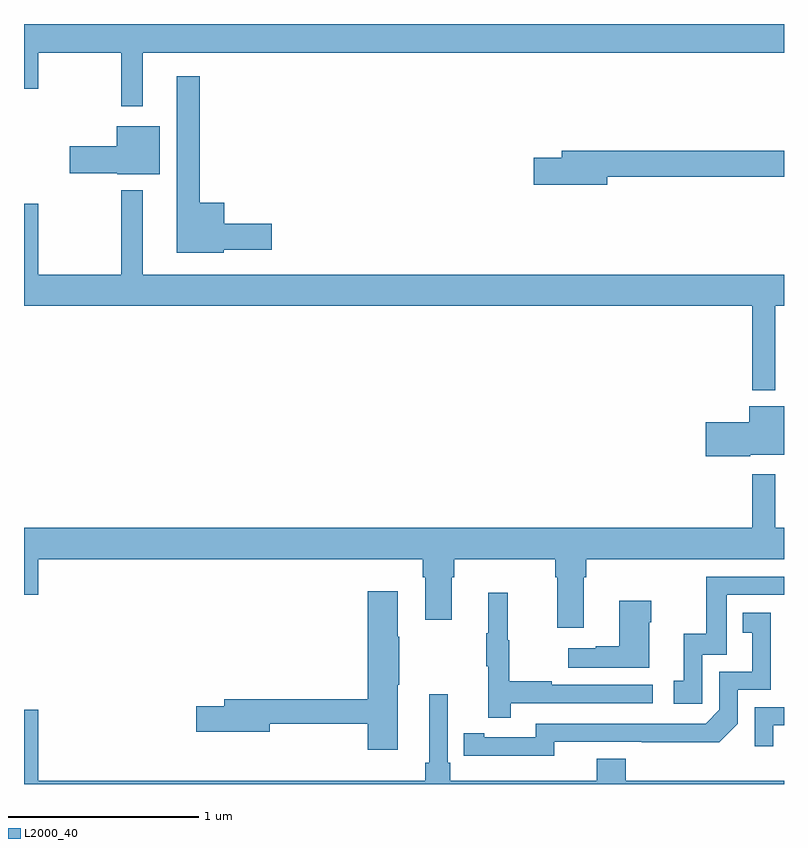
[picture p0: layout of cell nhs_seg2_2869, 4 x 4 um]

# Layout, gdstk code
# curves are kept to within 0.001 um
import gdstk
lib = gdstk.Library(unit=1e-6, precision=1e-09)
def P(c, l, *ps):  # polygons
    for p in ps: c.add(gdstk.Polygon(p, *l))
L2000_40 = (2000, 40)

nhs_seg2_2869 = lib.new_cell('nhs_seg2_2869')
P(nhs_seg2_2869, L2000_40, [(261.625,635.648),(265,635.648),(265,635.8),(261,635.8),(261,635.46),(261.076,635.46),(261.076,635.648),(261.511,635.648),(261.511,635.367),(261.625,635.367)],
  [(262.05,634.613),(262.303,634.613),(262.303,634.748),(262.054,634.748),(262.054,634.858),(261.925,634.858),(261.925,635.524),(261.803,635.524),(261.803,634.595),(262.05,634.595)],
  [(261.715,635.263),(261.488,635.263),(261.488,635.157),(261.24,635.157),(261.24,635.015),(261.492,635.015),(261.492,635.009),(261.715,635.009)],
  [(264.07,634.996),(265,634.996),(265,635.132),(263.831,635.132),(263.831,635.096),(263.682,635.096),(263.682,634.954),(264.07,634.954)],
  [(264.955,634.316),(265,634.316),(265,634.48),(261.625,634.48),(261.625,634.924),(261.511,634.924),(261.511,634.48),(261.076,634.48),(261.076,634.855),(261,634.855),(261,634.316),(264.834,634.316),(264.834,633.872),(264.955,633.872)],
  [(264.822,633.533),(265,633.533),(265,633.787),(264.818,633.787),(264.818,633.704),(264.588,633.704),(264.588,633.526),(264.822,633.526)],
  [(261,632.796),(261.076,632.796),(261.076,632.984),(263.099,632.984),(263.099,632.888),(263.111,632.888),(263.111,632.664),(263.251,632.664),(263.251,632.888),(263.264,632.888),(263.264,632.984),(263.795,632.984),(263.795,632.888),(263.807,632.888),(263.807,632.622),(263.947,632.622),(263.947,632.888),(263.96,632.888),(263.96,632.984),(265,632.984),(265,633.148),(264.955,633.148),(264.955,633.43),(264.834,633.43),(264.834,633.148),(261,633.148)],
  [(264.57,632.481),(264.699,632.481),(264.699,632.796),(265,632.796),(265,632.892),(264.591,632.892),(264.591,632.59),(264.473,632.59),(264.473,632.343),(264.42,632.343),(264.42,632.223),(264.57,632.223)],
  [(262.966,632.323),(262.974,632.323),(262.974,632.576),(262.966,632.576),(262.966,632.815),(262.808,632.815),(262.808,632.246),(262.055,632.246),(262.055,632.21),(261.906,632.21),(261.906,632.075),(262.294,632.075),(262.294,632.118),(262.808,632.118),(262.808,631.98),(262.966,631.98)],
  [(263.561,632.226),(264.31,632.226),(264.31,632.322),(263.777,632.322),(263.777,632.342),(263.554,632.342),(263.554,632.556),(263.546,632.556),(263.546,632.806),(263.444,632.806),(263.444,632.593),(263.433,632.593),(263.433,632.419),(263.444,632.419),(263.444,632.148),(263.561,632.148)],
  [(264.292,632.651),(264.3,632.651),(264.3,632.764),(264.134,632.764),(264.134,632.525),(264.008,632.525),(264.008,632.515),(263.865,632.515),(263.865,632.411),(264.292,632.411)],
  [(263.79,632.022),(264.658,632.021),(264.756,632.118),(264.756,632.295),(264.93,632.295),(264.93,632.701),(264.784,632.701),(264.784,632.595),(264.833,632.595),(264.833,632.391),(264.66,632.391),(264.66,632.19),(264.588,632.118),(263.694,632.118),(263.694,632.046),(263.422,632.046),(263.422,632.066),(263.314,632.066),(263.314,631.95),(263.79,631.949)],
  [(265,631.816),(264.167,631.816),(264.167,631.933),(264.014,631.933),(264.014,631.816),(263.243,631.816),(263.243,631.912),(263.229,631.912),(263.229,632.272),(263.132,632.272),(263.132,631.912),(263.113,631.912),(263.113,631.816),(261.076,631.816),(261.076,632.191),(261,632.191),(261,631.8),(265,631.8)],
  [(264.943,632.109),(265,632.109),(265,632.205),(264.846,632.205),(264.846,631.998),(264.943,631.998)])

lib.write_gds('nhs_seg2_2869.gds')
